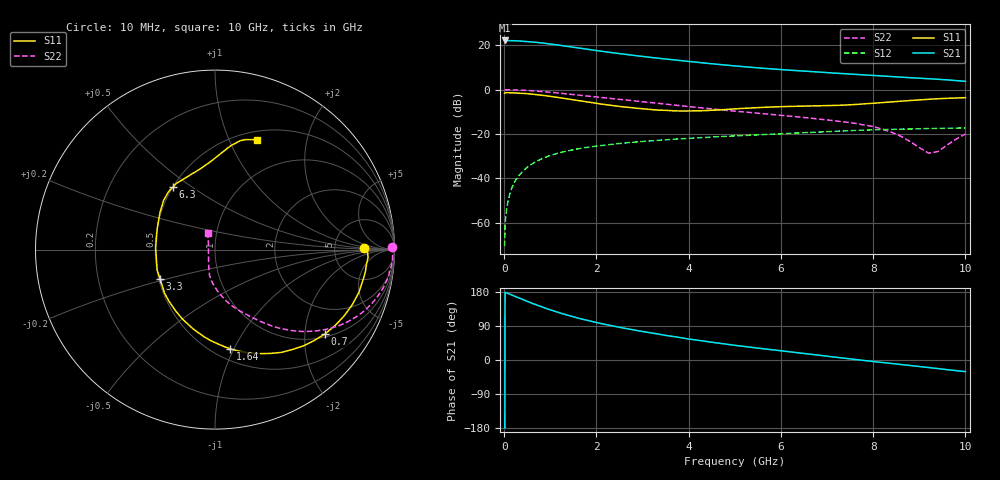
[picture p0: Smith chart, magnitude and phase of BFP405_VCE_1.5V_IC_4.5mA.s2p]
! (c) 2016  Infineon Technologies AG, Munich
! Infineon Technologies  Discrete & RF Semiconductors
! BFP405
! VCE =  1.5 V,  IC =  4.5 mA
! Common Emitter S-Parameters:  Jan 2016
# GHz  S  MA  R  50
!  f  S11  S21  S12  S22
! GHz  MAG  ANG  MAG  ANG  MAG  ANG  MAG  ANG
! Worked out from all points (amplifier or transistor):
!   233 points, 10 MHz to 10 GHz, reference 50 ohm
!   highest |S21| = 22.1 dB at 10 MHz (marker M1)
!   |S21| within 3 dB of that: start of sweep to 1.484 GHz
!   unconditionally stable (mu >= 1): 3.449 GHz to end of sweep
!   at 200 MHz: K = 0.08, MSG = 32.4 dB, |S12| = -42.7 dB
!   at 1.74 GHz: K = 0.53, MSG = 22.2 dB, |S12| = -26.2 dB
!   at 10 GHz: K = 1.49, MAG = 6.3 dB, |S12| = -17.3 dB
!   S11 on the Smith chart (normalised r, x): 10 MHz: 11, +1; 700 MHz: 1.09, -2.54; 1.64 GHz: 0.60, -0.97; 3.3 GHz: 0.51, -0.19; 6.3 GHz: 0.50, +0.42; 10 GHz: 0.59, +1.28
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0.01  0.8321 0.5  12.74 -177.2  0.0003 112.2  0.9851 0.9
0.02  0.8499 -1.0  12.67 178.5  0.0008 100.5  0.988 -0.2
0.09  0.8492 -4.9  12.65 175.1  0.0033 87.4  0.9906 -2.4
0.26  0.8383 -14.2  12.57 166.6  0.0095 82.9  0.9791 -7.3
0.5  0.8092 -27.1  12.1 154.8  0.0179 76.7  0.9566 -13.7
0.7  0.7724 -37.4  11.54 145.4  0.0243 71.6  0.9257 -18.7
0.9  0.7285 -47.4  10.95 136.5  0.0302 67.1  0.8897 -23.4
1.1  0.6821 -57.1  10.3 128.3  0.0355 62.8  0.8512 -27.6
1.38  0.615 -69.9  9.357 118.0  0.0421 57.7  0.795 -32.8
1.64  0.5586 -81.3  8.555 109.4  0.0473 53.6  0.745 -37.1
1.68  0.5506 -83.0  8.433 108.1  0.048 53.1  0.7376 -37.6
2  0.4901 -97.0  7.554 98.9  0.0536 48.8  0.6814 -42.1
2.4  0.4313 -113.9  6.637 88.6  0.0597 44.5  0.6181 -46.8
3.3  0.3474 -151.7  5.131 69.3  0.0718 36.4  0.4953 -55.9
3.4  0.3434 -156.1  4.998 67.2  0.0731 35.6  0.4826 -56.9
4  0.3309 178.2  4.293 55.4  0.0802 31.1  0.4143 -62.9
5.1  0.3739 144.1  3.337 37.3  0.0919 23.4  0.3204 -74.0
6.3  0.4205 123.8  2.69 20.2  0.1048 16.0  0.247 -84.0
6.8  0.4299 114.7  2.486 13.0  0.1108 12.7  0.2188 -88.4
8.4  0.5302 87.3  1.958 -9.2  0.1276 -0.2  0.1096 -108.2
9.2  0.6042 79.0  1.755 -19.8  0.1329 -6.3  0.0373 -167.4
10  0.6568 68.9  1.534 -30.7  0.1368 -11.7  0.1 114.0
